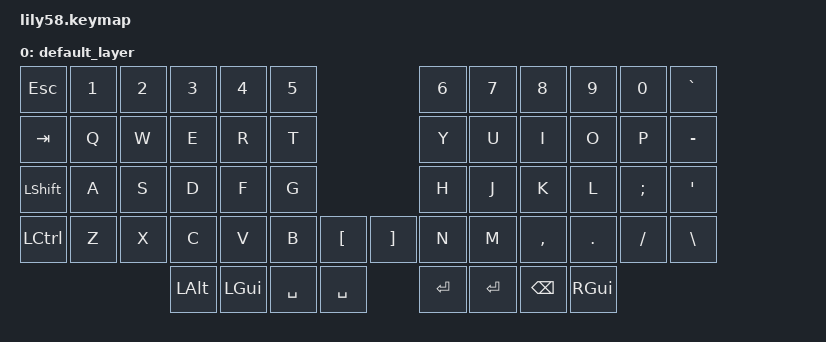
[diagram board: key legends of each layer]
#include <behaviors.dtsi>
#include <dt-bindings/zmk/keys.h>
#include <dt-bindings/zmk/bt.h>
#include <dt-bindings/zmk/ext_power.h>

/ {
    keymap {
        compatible = "zmk,keymap";

        default_layer {
            bindings = <
                &kp ESC   &kp N1 &kp N2 &kp N3   &kp N4   &kp N5                     &kp N6 &kp N7   &kp N8    &kp N9  &kp N0   &kp GRAVE
                &kp TAB   &kp Q  &kp W  &kp E    &kp R    &kp T                      &kp Y  &kp U    &kp I     &kp O   &kp P    &kp MINUS
                &kp LSHFT &kp A  &kp S  &kp D    &kp F    &kp G                      &kp H  &kp J    &kp K     &kp L   &kp SEMI &kp SQT
                &kp LCTRL &kp Z  &kp X  &kp C    &kp V    &kp B  &kp LBKT   &kp RBKT &kp N  &kp M    &kp COMMA &kp DOT &kp FSLH &kp BSLH
                                        &kp LALT &kp LGUI &kp SPACE &kp SPACE      &kp RET  &kp RET  &kp BSPC  &kp RGUI
            >;
        };
    };
};
